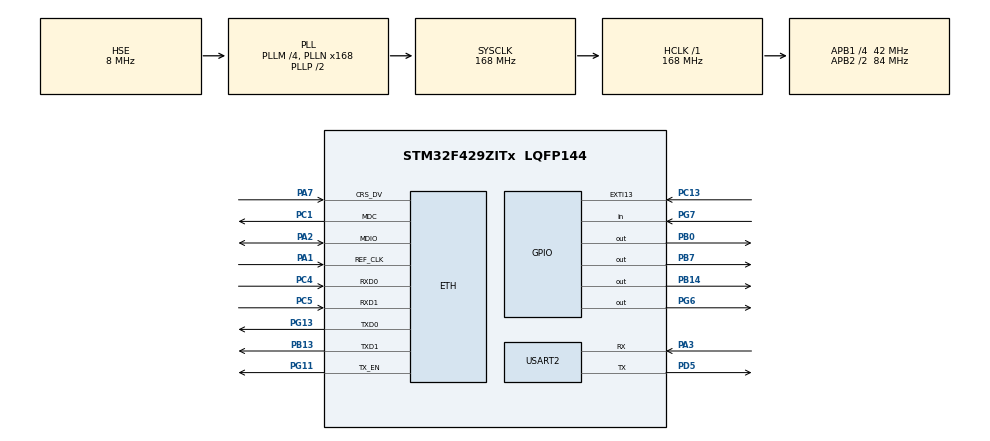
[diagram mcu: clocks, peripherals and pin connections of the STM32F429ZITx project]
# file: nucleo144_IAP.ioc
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Dma.Request0=USART2_RX
Dma.USART2_RX.0.Direction=DMA_PERIPH_TO_MEMORY
Dma.USART2_RX.0.FIFOMode=DMA_FIFOMODE_DISABLE
Dma.USART2_RX.0.Instance=DMA1_Stream5
Dma.USART2_RX.0.MemDataAlignment=DMA_MDATAALIGN_BYTE
Dma.USART2_RX.0.MemInc=DMA_MINC_ENABLE
Dma.USART2_RX.0.Mode=DMA_CIRCULAR
Dma.USART2_RX.0.PeriphDataAlignment=DMA_PDATAALIGN_BYTE
Dma.USART2_RX.0.PeriphInc=DMA_PINC_DISABLE
Dma.USART2_RX.0.Priority=DMA_PRIORITY_LOW
ETH.MediaInterface=ETH_MEDIA_INTERFACE_RMII
ETH.PhyAddress=0
FREERTOS.BinarySemaphores01=myBinarySem03_USART2R,Dynamic,NULL
FREERTOS.Tasks01=defaultTask,0,1024,StartDefaultTask,Default,NULL,Dynamic,NULL,NULL
FREERTOS.configMINIMAL_STACK_SIZE=1024
LWIP.GATEWAY_ADDRESS=192.168.003.001
LWIP.IP_ADDRESS=192.168.003.220
LWIP.LWIP_DHCP=0
LWIP.LWIP_HTTPD=0
LWIP.LWIP_NETIF_LINK_CALLBACK=1
LWIP.LWIP_TFTP=0
LWIP.NETMASK_ADDRESS=255.255.255.000
LWIP.Version=v2.0.0_Cube
Mcu.Family=STM32F4
Mcu.Name=STM32F429ZITx
Mcu.Package=LQFP144
NVIC.DMA1_Stream5_IRQn=true\:5\:0\:false\:false\:true\:true\:false
NVIC.ETH_IRQn=true\:5\:0\:false\:false\:true\:true\:false
NVIC.PriorityGroup=NVIC_PRIORITYGROUP_4
PA1.GPIO_Mode=GPIO_MODE_AF_PP
PA1.GPIO_PuPd=GPIO_NOPULL
PA1.GPIO_Speed=GPIO_SPEED_FREQ_VERY_HIGH
PA1.Mode=RMII
PA1.Signal=ETH_REF_CLK
PA10.GPIO_Mode=GPIO_MODE_AF_PP
PA10.GPIO_PuPd=GPIO_NOPULL
PA10.GPIO_Speed=GPIO_SPEED_FREQ_VERY_HIGH
PA10.Signal=USB_OTG_FS_ID
PA11.GPIO_Mode=GPIO_MODE_AF_PP
PA11.GPIO_PuPd=GPIO_NOPULL
PA11.GPIO_Speed=GPIO_SPEED_FREQ_VERY_HIGH
PA11.Signal=USB_OTG_FS_DM
PA12.GPIO_Mode=GPIO_MODE_AF_PP
PA12.GPIO_PuPd=GPIO_NOPULL
PA12.GPIO_Speed=GPIO_SPEED_FREQ_VERY_HIGH
PA12.Signal=USB_OTG_FS_DP
PA13.Mode=Serial_Wire
PA13.Signal=SYS_JTMS-SWDIO
PA14.Mode=Serial_Wire
PA14.Signal=SYS_JTCK-SWCLK
PA2.GPIO_Mode=GPIO_MODE_AF_PP
PA2.GPIO_PuPd=GPIO_NOPULL
PA2.GPIO_Speed=GPIO_SPEED_FREQ_VERY_HIGH
PA2.Mode=RMII
PA2.Signal=ETH_MDIO
PA3.Mode=Asynchronous
PA3.Signal=USART2_RX
PA7.GPIO_Mode=GPIO_MODE_AF_PP
PA7.GPIO_PuPd=GPIO_NOPULL
PA7.GPIO_Speed=GPIO_SPEED_FREQ_VERY_HIGH
PA7.Mode=RMII
PA7.Signal=ETH_CRS_DV
PA8.GPIO_Mode=GPIO_MODE_AF_PP
PA8.GPIO_PuPd=GPIO_NOPULL
PA8.GPIO_Speed=GPIO_SPEED_FREQ_VERY_HIGH
PA8.Signal=USB_OTG_FS_SOF
PA9.GPIO_Mode=GPIO_MODE_INPUT
PA9.GPIO_PuPd=GPIO_NOPULL
PA9.Signal=USB_OTG_FS_VBUS
PB0.Signal=GPIO_Output
PB13.GPIO_Mode=GPIO_MODE_AF_PP
PB13.GPIO_PuPd=GPIO_NOPULL
PB13.GPIO_Speed=GPIO_SPEED_FREQ_VERY_HIGH
PB13.Mode=RMII
PB13.Signal=ETH_TXD1
PB14.GPIO_ModeDefaultOutputPP=GPIO_MODE_OUTPUT_PP
PB14.GPIO_PuPd=GPIO_NOPULL
PB14.GPIO_Speed=GPIO_SPEED_FREQ_LOW
PB14.PinState=GPIO_PIN_RESET
PB14.Signal=GPIO_Output
PB5.Signal=SPI1_MOSI
PB7.Signal=GPIO_Output
PC1.GPIO_Mode=GPIO_MODE_AF_PP
PC1.GPIO_PuPd=GPIO_NOPULL
PC1.GPIO_Speed=GPIO_SPEED_FREQ_VERY_HIGH
PC1.Mode=RMII
PC1.Signal=ETH_MDC
PC13.GPIO_ModeDefaultEXTI=GPIO_MODE_IT_RISING
PC13.GPIO_PuPd=GPIO_NOPULL
PC13.Signal=GPXTI13
PC14/OSC32_IN.Signal=RCC_OSC32_IN
PC15/OSC32_OUT.Signal=RCC_OSC32_OUT
PC4.GPIO_Mode=GPIO_MODE_AF_PP
PC4.GPIO_PuPd=GPIO_NOPULL
PC4.GPIO_Speed=GPIO_SPEED_FREQ_VERY_HIGH
PC4.Mode=RMII
PC4.Signal=ETH_RXD0
PC5.GPIO_Mode=GPIO_MODE_AF_PP
PC5.GPIO_PuPd=GPIO_NOPULL
PC5.GPIO_Speed=GPIO_SPEED_FREQ_VERY_HIGH
PC5.Mode=RMII
PC5.Signal=ETH_RXD1
PD5.Mode=Asynchronous
PD5.Signal=USART2_TX
PD8.GPIO_Mode=GPIO_MODE_AF_PP
PD8.GPIO_PuPd=GPIO_NOPULL
PD8.GPIO_Speed=GPIO_SPEED_FREQ_VERY_HIGH
PD8.Signal=USART3_TX
PD9.GPIO_Mode=GPIO_MODE_AF_PP
PD9.GPIO_PuPd=GPIO_NOPULL
PD9.GPIO_Speed=GPIO_SPEED_FREQ_VERY_HIGH
PD9.Signal=USART3_RX
PG11.GPIO_Mode=GPIO_MODE_AF_PP
PG11.GPIO_PuPd=GPIO_NOPULL
PG11.GPIO_Speed=GPIO_SPEED_FREQ_VERY_HIGH
PG11.Mode=RMII
PG11.Signal=ETH_TX_EN
PG13.GPIO_Mode=GPIO_MODE_AF_PP
PG13.GPIO_PuPd=GPIO_NOPULL
PG13.GPIO_Speed=GPIO_SPEED_FREQ_VERY_HIGH
PG13.Mode=RMII
PG13.Signal=ETH_TXD0
PG6.GPIO_ModeDefaultOutputPP=GPIO_MODE_OUTPUT_PP
PG6.GPIO_PuPd=GPIO_NOPULL
PG6.GPIO_Speed=GPIO_SPEED_FREQ_LOW
PG6.PinState=GPIO_PIN_RESET
PG6.Signal=GPIO_Output
PG7.GPIO_Mode=GPIO_MODE_INPUT
PG7.GPIO_PuPd=GPIO_NOPULL
PG7.Signal=GPIO_Input
PH0/OSC_IN.Mode=HSE-External-Oscillator
PH0/OSC_IN.Signal=RCC_OSC_IN
PH1/OSC_OUT.Mode=HSE-External-Oscillator
PH1/OSC_OUT.Signal=RCC_OSC_OUT
ProjectManager.HeapSize=0x200
ProjectManager.StackSize=0x400
ProjectManager.TargetToolchain=SW4STM32
RCC.48MHZClocksFreq_Value=48000000
RCC.AHBFreq_Value=168000000
RCC.APB1CLKDivider=RCC_HCLK_DIV4
RCC.APB1Freq_Value=42000000
RCC.APB1TimFreq_Value=84000000
RCC.APB2CLKDivider=RCC_HCLK_DIV2
RCC.APB2Freq_Value=84000000
RCC.APB2TimFreq_Value=168000000
RCC.CortexFreq_Value=168000000
RCC.HCLKFreq_Value=168000000
RCC.HSE_VALUE=8000000
RCC.HSI_VALUE=16000000
RCC.LSE_VALUE=32768
RCC.PLLM=4
RCC.PLLMUL=RCC_PLL_MUL9
RCC.PLLN=168
RCC.PLLQ=7
RCC.PLLSourceVirtual=RCC_PLLSOURCE_HSE
RCC.PRESCALERUSB=RCC_USBCLKSOURCE_PLL_DIV1_5
RCC.SYSCLKFreq_VALUE=168000000
RCC.SYSCLKSource=RCC_SYSCLKSOURCE_PLLCLK
RCC.SYSCLKSourceVirtual=RCC_SYSCLKSOURCE_PLLCLK
RCC.USBFreq_Value=48000000
RCC.VCOOutputFreq_Value=336000000
USART2.VirtualMode=VM_ASYNC
VP_FREERTOS_VS_ENABLE.Mode=Enabled
VP_LWIP_VS_Enabled.Mode=Enabled
board=NUCLEO-F429ZI

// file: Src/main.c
/**
  ******************************************************************************
  * File Name          : main.c
  * Description        : Main program body
  ******************************************************************************
  * This notice applies to any and all portions of this file
  * that are not between comment pairs USER CODE BEGIN and
  * USER CODE END. Other portions of this file, whether
  * inserted by the user or by software development tools
  * are owned by their respective copyright owners.
  *
  * Copyright (c) 2019 STMicroelectronics International N.V.
  * All rights reserved.
  *
  * Redistribution and use in source and binary forms, with or without
  * modification, are permitted, provided that the following conditions are met:
  *
  * 1. Redistribution of source code must retain the above copyright notice,
  *    this list of conditions and the following disclaimer.
  * 2. Redistributions in binary form must reproduce the above copyright notice,
  *    this list of conditions and the following disclaimer in the documentation
  *    and/or other materials provided with the distribution.
  * 3. Neither the name of STMicroelectronics nor the names of other
  *    contributors to this software may be used to endorse or promote products
  *    derived from this software without specific written permission.
  * 4. This software, including modifications and/or derivative works of this
  *    software, must execute solely and exclusively on microcontroller or
  *    microprocessor devices manufactured by or for STMicroelectronics.
  * 5. Redistribution and use of this software other than as permitted under
  *    this license is void and will automatically terminate your rights under
  *    this license.
  *
  * THIS SOFTWARE IS PROVIDED BY STMICROELECTRONICS AND CONTRIBUTORS "AS IS"
  * AND ANY EXPRESS, IMPLIED OR STATUTORY WARRANTIES, INCLUDING, BUT NOT
  * LIMITED TO, THE IMPLIED WARRANTIES OF MERCHANTABILITY, FITNESS FOR A
  * PARTICULAR PURPOSE AND NON-INFRINGEMENT OF THIRD PARTY INTELLECTUAL PROPERTY
  * RIGHTS ARE DISCLAIMED TO THE FULLEST EXTENT PERMITTED BY LAW. IN NO EVENT
  * SHALL STMICROELECTRONICS OR CONTRIBUTORS BE LIABLE FOR ANY DIRECT, INDIRECT,
  * INCIDENTAL, SPECIAL, EXEMPLARY, OR CONSEQUENTIAL DAMAGES (INCLUDING, BUT NOT
  * LIMITED TO, PROCUREMENT OF SUBSTITUTE GOODS OR SERVICES; LOSS OF USE, DATA,
  * OR PROFITS; OR BUSINESS INTERRUPTION) HOWEVER CAUSED AND ON ANY THEORY OF
  * LIABILITY, WHETHER IN CONTRACT, STRICT LIABILITY, OR TORT (INCLUDING
  * NEGLIGENCE OR OTHERWISE) ARISING IN ANY WAY OUT OF THE USE OF THIS SOFTWARE,
  * EVEN IF ADVISED OF THE POSSIBILITY OF SUCH DAMAGE.
  *
  ******************************************************************************
  */

#include "main.h"
#include "stm32f4xx_hal.h"
#include "cmsis_os.h"
#include "dma.h"
#include "lwip.h"
#include "usart.h"
#include "gpio.h"

/* USER CODE BEGIN Includes */
#include "tftpserver.h"
/* USER CODE END Includes */

/* USER CODE BEGIN PV */
/* Private variables ---------------------------------------------------------*/
unsigned long LocalTime = 0; /* this variable is used to create a time reference incremented by 10ms */
/* USER CODE END PV */

void SystemClock_Config(void);
void MX_FREERTOS_Init(void);

/* USER CODE BEGIN PFP */
/* Private function prototypes -----------------------------------------------*/
#define SYSTEMTICK_PERIOD_MS  1
/* USER CODE END PFP */

/* USER CODE BEGIN 0 */
void Time_Update(void)
{
  LocalTime += SYSTEMTICK_PERIOD_MS;
}

//int fputc(int c, FILE *stream)
//{
//	return HAL_UART_Transmit_DMA(&huart2,c, 1);
    //return ITM_SendChar(c);
//}

void printfp(char * c) {
	//HAL_UART_Transmit_DMA(&huart2,c, strlen(c));
	//HAL_StatusTypeDef HAL_UART_Transmit(UART_HandleTypeDef *huart, uint8_t *pData, uint16_t Size, uint32_t Timeout)
	HAL_UART_Transmit(&huart2, c, strlen(c), 100);
}

void printfpd(char * c, unsigned long d) {
	char b[100];
	sprintf(b,c,d);
	printfp(b);
}

/* USER CODE END 0 */

int main(void)
{

  /* USER CODE BEGIN 1 */
  Reset = 0;
  write_cnt = 0;
//	SystemCoreClockUpdate();
//  FLASH_If_Init();
//  ReadStorage();

  /* USER CODE END 1 */

  /* MCU Configuration----------------------------------------------------------*/

  /* Reset of all peripherals, Initializes the Flash interface and the Systick. */
  HAL_Init();

  /* Configure the system clock */
  SystemClock_Config();

  /* Initialize all configured peripherals */
  MX_GPIO_Init();
  MX_DMA_Init();
  MX_USART2_UART_Init();

  /* USER CODE BEGIN 2 */
//  IAP_tftpd_init();
//  IAP_tftpd_init();
// printf("\n\r Start!");

//  FLASH_If_Init();
//  WriteStorage();
//  ReadStorage();
//  My_MX_LWIP_Init();
//t WriteStorage();
 // HAL_WWDG_Refresh(&hwwdg);
    ReadStorage();  //for have property mac
  /* USER CODE END 2 */

  /* Call init function for freertos objects (in freertos.c) */
  MX_FREERTOS_Init();

  /* Start scheduler */
  osKernelStart();

  /* We should never get here as control is now taken by the scheduler */

  /* Infinite loop */
  /* USER CODE BEGIN WHILE */

 // IAP_tftpd_init(); //t

  while (1)
  {
	    /* check if any packet received */
//	if( HAL_ETH_GetReceivedFrame(&heth))	 {
//	      if (ETH_CheckFrameReceived()) {
	        /* process received ethernet packet */
	    //    LwIP_Pkt_Handle();
	//        MX_LWIP_Process();
	//      }
	      /* handle periodic timers for LwIP */
	//      LwIP_Periodic_Handle(LocalTime);

  /* USER CODE END WHILE */

  }

}

/** System Clock Configuration
*/
void SystemClock_Config(void)
{

  RCC_OscInitTypeDef RCC_OscInitStruct;
  RCC_ClkInitTypeDef RCC_ClkInitStruct;

    /**Configure the main internal regulator output voltage
    */
  __HAL_RCC_PWR_CLK_ENABLE();

  __HAL_PWR_VOLTAGESCALING_CONFIG(PWR_REGULATOR_VOLTAGE_SCALE1);

    /**Initializes the CPU, AHB and APB busses clocks
    */
  RCC_OscInitStruct.OscillatorType = RCC_OSCILLATORTYPE_HSE;
  RCC_OscInitStruct.HSEState = RCC_HSE_ON;
  RCC_OscInitStruct.PLL.PLLState = RCC_PLL_ON;
  RCC_OscInitStruct.PLL.PLLSource = RCC_PLLSOURCE_HSE;
  RCC_OscInitStruct.PLL.PLLM = 4;
  RCC_OscInitStruct.PLL.PLLN = 168;
  RCC_OscInitStruct.PLL.PLLP = RCC_PLLP_DIV2;
  RCC_OscInitStruct.PLL.PLLQ = 7;
  if (HAL_RCC_OscConfig(&RCC_OscInitStruct) != HAL_OK)
  {
    _Error_Handler(__FILE__, __LINE__);
  }

    /**Initializes the CPU, AHB and APB busses clocks
    */
  RCC_ClkInitStruct.ClockType = RCC_CLOCKTYPE_HCLK|RCC_CLOCKTYPE_SYSCLK
                              |RCC_CLOCKTYPE_PCLK1|RCC_CLOCKTYPE_PCLK2;
  RCC_ClkInitStruct.SYSCLKSource = RCC_SYSCLKSOURCE_PLLCLK;
  RCC_ClkInitStruct.AHBCLKDivider = RCC_SYSCLK_DIV1;
  RCC_ClkInitStruct.APB1CLKDivider = RCC_HCLK_DIV4;
  RCC_ClkInitStruct.APB2CLKDivider = RCC_HCLK_DIV2;

  if (HAL_RCC_ClockConfig(&RCC_ClkInitStruct, FLASH_LATENCY_5) != HAL_OK)
  {
    _Error_Handler(__FILE__, __LINE__);
  }

    /**Configure the Systick interrupt time
    */
  HAL_SYSTICK_Config(HAL_RCC_GetHCLKFreq()/1000);

    /**Configure the Systick
    */
  HAL_SYSTICK_CLKSourceConfig(SYSTICK_CLKSOURCE_HCLK);

  /* SysTick_IRQn interrupt configuration */
  HAL_NVIC_SetPriority(SysTick_IRQn, 15, 0);
}

void _Error_Handler(char * file, int line)
{
  while(1)
  {
  }
}

/************************ (C) COPYRIGHT STMicroelectronics *****END OF FILE****/

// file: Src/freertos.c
/**
  ******************************************************************************
  * File Name          : freertos.c
  * Description        : Code for freertos applications
  ******************************************************************************
  * This notice applies to any and all portions of this file
  * that are not between comment pairs USER CODE BEGIN and
  * USER CODE END. Other portions of this file, whether
  * inserted by the user or by software development tools
  * are owned by their respective copyright owners.
  *
  * Copyright (c) 2019 STMicroelectronics International N.V.
  * All rights reserved.
  *
  * Redistribution and use in source and binary forms, with or without
  * modification, are permitted, provided that the following conditions are met:
  *
  * 1. Redistribution of source code must retain the above copyright notice,
  *    this list of conditions and the following disclaimer.
  * 2. Redistributions in binary form must reproduce the above copyright notice,
  *    this list of conditions and the following disclaimer in the documentation
  *    and/or other materials provided with the distribution.
  * 3. Neither the name of STMicroelectronics nor the names of other
  *    contributors to this software may be used to endorse or promote products
  *    derived from this software without specific written permission.
  * 4. This software, including modifications and/or derivative works of this
  *    software, must execute solely and exclusively on microcontroller or
  *    microprocessor devices manufactured by or for STMicroelectronics.
  * 5. Redistribution and use of this software other than as permitted under
  *    this license is void and will automatically terminate your rights under
  *    this license.
  *
  * THIS SOFTWARE IS PROVIDED BY STMICROELECTRONICS AND CONTRIBUTORS "AS IS"
  * AND ANY EXPRESS, IMPLIED OR STATUTORY WARRANTIES, INCLUDING, BUT NOT
  * LIMITED TO, THE IMPLIED WARRANTIES OF MERCHANTABILITY, FITNESS FOR A
  * PARTICULAR PURPOSE AND NON-INFRINGEMENT OF THIRD PARTY INTELLECTUAL PROPERTY
  * RIGHTS ARE DISCLAIMED TO THE FULLEST EXTENT PERMITTED BY LAW. IN NO EVENT
  * SHALL STMICROELECTRONICS OR CONTRIBUTORS BE LIABLE FOR ANY DIRECT, INDIRECT,
  * INCIDENTAL, SPECIAL, EXEMPLARY, OR CONSEQUENTIAL DAMAGES (INCLUDING, BUT NOT
  * LIMITED TO, PROCUREMENT OF SUBSTITUTE GOODS OR SERVICES; LOSS OF USE, DATA,
  * OR PROFITS; OR BUSINESS INTERRUPTION) HOWEVER CAUSED AND ON ANY THEORY OF
  * LIABILITY, WHETHER IN CONTRACT, STRICT LIABILITY, OR TORT (INCLUDING
  * NEGLIGENCE OR OTHERWISE) ARISING IN ANY WAY OUT OF THE USE OF THIS SOFTWARE,
  * EVEN IF ADVISED OF THE POSSIBILITY OF SUCH DAMAGE.
  *
  ******************************************************************************
  */

#include "FreeRTOS.h"
#include "task.h"
#include "cmsis_os.h"

/* USER CODE BEGIN Includes */
#include "main.h"
#include "stm32f4xx_hal.h"
#include "stm32f4xx_hal_cortex.h"
#include "cmsis_os.h"
#include "lwip.h"
#include "usart.h"
#include "gpio.h"
#include "main.h"
#include "netconf.h"
#include "flash_if.h"
#include "string.h"
#include "tftpserver.h"
#include "storage.h"
#include "stdlib.h"
/* USER CODE END Includes */

osThreadId defaultTaskHandle;
osSemaphoreId myBinarySem03_USART2RHandle;

/* USER CODE BEGIN Variables */
//<<<<<<< HEAD

//=======
//#define TIME_WAIT_JUMP  (7500)//  (10000)
//>>>>>>> 76f0d5d0f3e09a4393c23f32fb9683df722f9656

#define 	NVIC_VectTab_FLASH   ((uint32_t)0x08000000)
typedef  void (*pFunction)(void);
pFunction Jump_To_Application;
uint32_t JumpAddress;
char RcvBuff[RCV_BUFF_SIZE];
char TrBuff[TR_BUFF_SIZE];
unsigned long counter = TIME_WAIT_JUMP_LITTLE;
/* USER CODE END Variables */

void StartDefaultTask(void const * argument);

extern void MX_LWIP_Init(void);
void MX_FREERTOS_Init(void); /* (MISRA C 2004 rule 8.1) */

/* USER CODE BEGIN FunctionPrototypes */
void NVIC_SetVectorTable(unsigned long NVIC_VectTab, unsigned long Offset) {
         SCB->VTOR = NVIC_VectTab | (Offset & (unsigned int)0x1FFFFF80);
 }
void jump_app( uint32_t address ) {
	  __asm ("LDR SP, [R0]\n"); // Load new stack pointer address
	  __asm ("LDR PC, [R0, #4]\n");  //Load new program counter address;
	  };
uint8_t StartApp(void) {
	  	  HAL_ETH_DeInit(&heth);
		  HAL_NVIC_DisableIRQ(DMA1_Stream5_IRQn);
		  HAL_NVIC_DisableIRQ(DMA1_Stream6_IRQn);
		  HAL_NVIC_DisableIRQ(DMA2_Stream0_IRQn);
		  HAL_NVIC_DisableIRQ(DMA2_Stream3_IRQn);
		  SysTick->CTRL = 0;                  // Dysable SysTick.
		  jump_app(USER_FLASH_FIRST_PAGE_ADDRESS);
		  return 0;
  };
void CheckWriteStorage(void) {
	if(write_cnt) write_cnt--;
	if(write_cnt == 1) WriteStorage();
}
/* USER CODE END FunctionPrototypes */

/* Hook prototypes */

/* Init FreeRTOS */

void MX_FREERTOS_Init(void) {

  /* Create the semaphores(s) */
  /* definition and creation of myBinarySem03_USART2R */
  osSemaphoreDef(myBinarySem03_USART2R);
  myBinarySem03_USART2RHandle = osSemaphoreCreate(osSemaphore(myBinarySem03_USART2R), 1);

  /* Create the thread(s) */
  /* definition and creation of defaultTask */
  osThreadDef(defaultTask, StartDefaultTask, osPriorityNormal, 0, 1024);
  defaultTaskHandle = osThreadCreate(osThread(defaultTask), NULL);

}

/* StartDefaultTask function */
void StartDefaultTask(void const * argument)
{
  /* init code for LWIP */
  MX_LWIP_Init();

  /* USER CODE BEGIN StartDefaultTask */
//<<<<<<< HEAD
  counter = TIME_WAIT_JUMP_LITTLE;
//=======
//>>>>>>> 76f0d5d0f3e09a4393c23f32fb9683df722f9656
  memset(RcvBuff, 0 ,RCV_BUFF_SIZE);
  ReadStorage();  //for have property ip
  My_ChangeIp();  //need add to remote
  uint8_t * testDataToReceiveU = malloc(U2_BUFF_SIZE);
  memset(testDataToReceiveU, 0, U2_BUFF_SIZE);
  	uint8_t flag_rcv = 0;
  	uint16_t cnt = 0;
  	uint32_t tcnt = 0;
  	uint16_t rsize;
  	uint16_t rsize_old = U2_BUFF_SIZE;
  	uint16_t tmp, i;
  	uint16_t cnt_rd = 0;
  	uint16_t cnt_bf = 0;
  	uint32_t cnt_rcv = 0;
  	uint32_t cnt_tr = 0;
  	uint32_t cnt_cp = 0;
  	char* Buf = malloc(25);
  HAL_UART_Receive_DMA(&huart2,testDataToReceiveU, U2_BUFF_SIZE); //start receive
  IAP_tftpd_init(); //t
  /* Infinite loop */
  for(;;)
  {
		if(osSemaphoreWait(myBinarySem03_USART2RHandle , 1) == osOK) {
				cnt_rcv++;
				flag_rcv ++;
				}
		 rsize = (uint16_t) __HAL_DMA_GET_COUNTER(huart2.hdmarx);
		 if(rsize < rsize_old) {
			   tmp = rsize_old - rsize;
		   } else if(rsize > rsize_old) {
			   tmp = rsize_old + (uint16_t)U2_BUFF_SIZE - rsize;
		   }
		 //  else if(flag_rcv) {
	//		   tmp = 0;//rsize;
	//		   flag_rcv = 0;
	//	   }
		   rsize_old =  rsize;
			  if(tmp > 0) {
				//	HAL_GPIO_TogglePin( GPIOB, GPIO_PIN_14); //red
					HAL_GPIO_TogglePin( GPIOB, GPIO_PIN_0); //
				  for(i = 0; i < tmp; i++) {
						Receive(testDataToReceiveU[cnt_bf]);
						testDataToReceiveU[cnt_bf] = 0;  //clear data
					//	testrdata[cnt_rd++] = testDataToReceiveU[cnt_bf++];
						cnt_bf++;
					if(cnt_rd >= RD_SIZE) 		cnt_rd = 0;
					if(cnt_bf >= U2_BUFF_SIZE) 	cnt_bf = 0;
				  }
				  tmp = 0;
				  cnt_cp++;
			  } //tcnt
//<<<<<<< HEAD
  counter--;
  if(!(counter % 500)) {
   if(!counter) {
//=======
//  counter++;
 // if(!(counter % 500)) {
 //  if(counter > TIME_WAIT_JUMP) {
//>>>>>>> 76f0d5d0f3e09a4393c23f32fb9683df722f9656
	  HAL_UART_DMAStop(&huart2);
	  StartApp();
   }
//	  printfpd("\r> %d", counter / 500);
  }
    CheckWriteStorage();
    MyCheckLink();
	osDelay(1);
  }
  /* USER CODE END StartDefaultTask */
}

/************************ (C) COPYRIGHT STMicroelectronics *****END OF FILE****/
